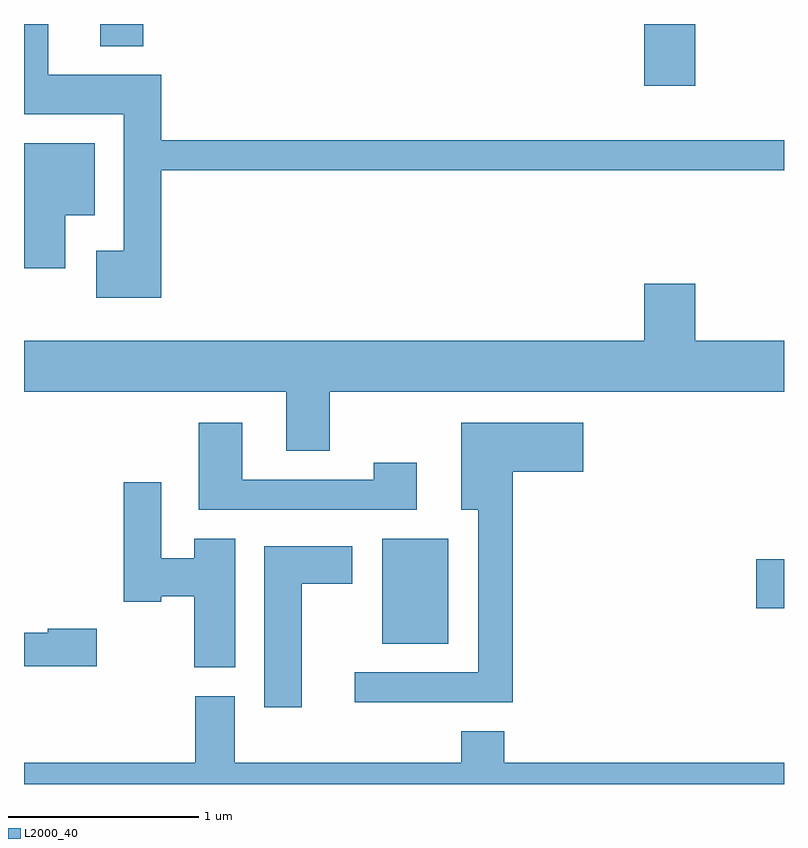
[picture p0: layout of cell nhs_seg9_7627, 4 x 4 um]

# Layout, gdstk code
import gdstk
lib = gdstk.Library(unit=1e-6, precision=1e-09)
def R(c, l, rs):  # rectangles x0, y0, x1, y1
    for r in rs: c.add(gdstk.rectangle(r[:2], r[2:], *l))
def P(c, l, *ps):  # polygons
    for p in ps: c.add(gdstk.Polygon(p, *l))
L2000_40 = (2000, 40)

nhs_seg9_7627 = lib.new_cell('nhs_seg9_7627')
R(nhs_seg9_7627, L2000_40, [(413.496,1977.171,413.844,1977.724), (415.466,1977.356,415.611,1977.614), (414.876,1980.106,415.144,1980.432), (412.011,1980.316,412.239,1980.432)])
P(nhs_seg9_7627, L2000_40, [(412.334,1979.661),(415.611,1979.661),(415.611,1979.819),(412.334,1979.819),(412.334,1980.164),(411.739,1980.164),(411.739,1980.432),(411.611,1980.432),(411.611,1979.956),(412.136,1979.956),(412.136,1979.239),(411.991,1979.239),(411.991,1978.991),(412.334,1978.991)],
  [(411.829,1979.426),(411.984,1979.426),(411.984,1979.804),(411.611,1979.804),(411.611,1979.146),(411.829,1979.146)],
  [(413.219,1978.496),(415.611,1978.496),(415.611,1978.764),(415.144,1978.764),(415.144,1979.064),(414.876,1979.064),(414.876,1978.764),(411.611,1978.764),(411.611,1978.496),(412.991,1978.496),(412.991,1978.186),(413.219,1978.186)],
  [(414.184,1978.076),(414.554,1978.076),(414.554,1978.334),(413.911,1978.334),(413.911,1977.876),(414.001,1977.876),(414.001,1977.019),(413.353,1977.019),(413.353,1976.861),(414.184,1976.861)],
  [(413.679,1978.124),(413.451,1978.124),(413.451,1978.034),(412.759,1978.034),(412.759,1978.334),(412.531,1978.334),(412.531,1977.876),(413.679,1977.876)],
  [(412.724,1977.724),(412.506,1977.724),(412.506,1977.619),(412.334,1977.619),(412.334,1978.019),(412.136,1978.019),(412.136,1977.391),(412.334,1977.391),(412.334,1977.421),(412.506,1977.421),(412.506,1977.046),(412.724,1977.046)],
  [(413.074,1977.486),(413.339,1977.486),(413.339,1977.684),(412.876,1977.684),(412.876,1976.836),(413.074,1976.836)],
  [(411.994,1977.249),(411.736,1977.249),(411.736,1977.229),(411.611,1977.229),(411.611,1977.051),(411.994,1977.051)],
  [(415.611,1976.544),(414.139,1976.544),(414.139,1976.709),(413.911,1976.709),(413.911,1976.544),(412.719,1976.544),(412.719,1976.894),(412.511,1976.894),(412.511,1976.544),(411.611,1976.544),(411.611,1976.432),(415.611,1976.432)])

lib.write_gds('nhs_seg9_7627.gds')
